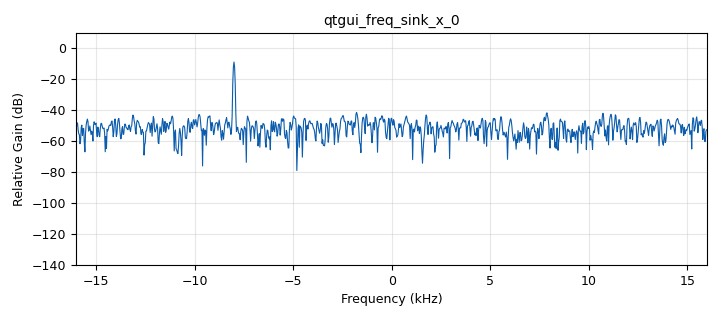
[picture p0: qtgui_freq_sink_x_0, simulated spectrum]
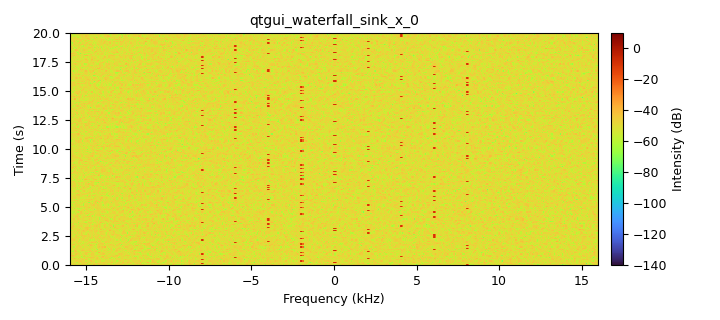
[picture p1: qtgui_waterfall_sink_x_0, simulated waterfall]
options:
  parameters:
    generate_options: qt_gui
    id: fhss_simulator
    output_language: python
    title: Not titled yet
  states: {}

blocks:
- name: samp_rate
  id: variable
  parameters:
    value: '32000'
  states: {}
- name: blocks_throttle2_0
  id: blocks_throttle2
  parameters:
    samples_per_second: samp_rate
    type: complex
  states: {}
- name: channels_channel_model_0
  id: channels_channel_model
  parameters:
    epsilon: '1.0'
    freq_offset: '0.0'
    noise_voltage: '0.2'
    seed: '0'
    taps: '1.0'
  states: {}
- name: epy_block_0
  id: epy_block
  parameters:
    _source_code: |-
      import numpy as np
      from gnuradio import gr

      class blk(gr.sync_block):
          """
          Embedded Python Block for Frequency Hopping Spread Spectrum (FHSS) Simulation
          """
          def __init__(self, sample_rate=32000, hop_dwell_time=0.05, freqs=[-120000, -90000, -60000, -30000, 0, 30000, 60000, 90000, 120000]):
              gr.sync_block.__init__(
                  self,
                  name="FHSS Signal Source",
                  in_sig=None,
                  out_sig=[np.complex64]
              )
              self.sample_rate = sample_rate
              self.hop_dwell_time = hop_dwell_time
              self.freqs = freqs
              
              self.samples_per_hop = int(self.sample_rate * self.hop_dwell_time)
              self.current_sample_count = 0
              self.current_freq_idx = 0
              self.phase = 0.0

          def work(self, input_items, output_items):
              out = output_items[0]
              noutput_items = len(out)
              dt = 1.0 / self.sample_rate
              
              for i in range(noutput_items):
                  if self.current_sample_count >= self.samples_per_hop:
                      self.current_sample_count = 0
                      self.current_freq_idx = np.random.randint(0, len(self.freqs))
                  
                  freq = self.freqs[self.current_freq_idx]
                  
                  out[i] = np.exp(1j * self.phase)
                  self.phase += 2 * np.pi * freq * dt
                  self.phase = self.phase % (2 * np.pi)
                  
                  self.current_sample_count += 1
                  
              return noutput_items
    freqs: '[-120000, -90000, -60000, -30000, 0, 30000, 60000, 90000, 120000]'
    hop_dwell_time: '0.05'
    sample_rate: '32000'
  states: {}
- name: qtgui_freq_sink_x_0
  id: qtgui_freq_sink_x
  parameters:
    bw: samp_rate
    fc: '0'
    fftsize: '1024'
    type: complex
  states: {}
- name: qtgui_waterfall_sink_x_0
  id: qtgui_waterfall_sink_x
  parameters:
    bw: samp_rate
    fc: '0'
    fftsize: '1024'
    type: complex
  states: {}

connections:
- [blocks_throttle2_0, '0', qtgui_freq_sink_x_0, '0']
- [blocks_throttle2_0, '0', qtgui_waterfall_sink_x_0, '0']
- [channels_channel_model_0, '0', blocks_throttle2_0, '0']
- [epy_block_0, '0', channels_channel_model_0, '0']

metadata:
  file_format: 1
  grc_version: 3.10.12.0
